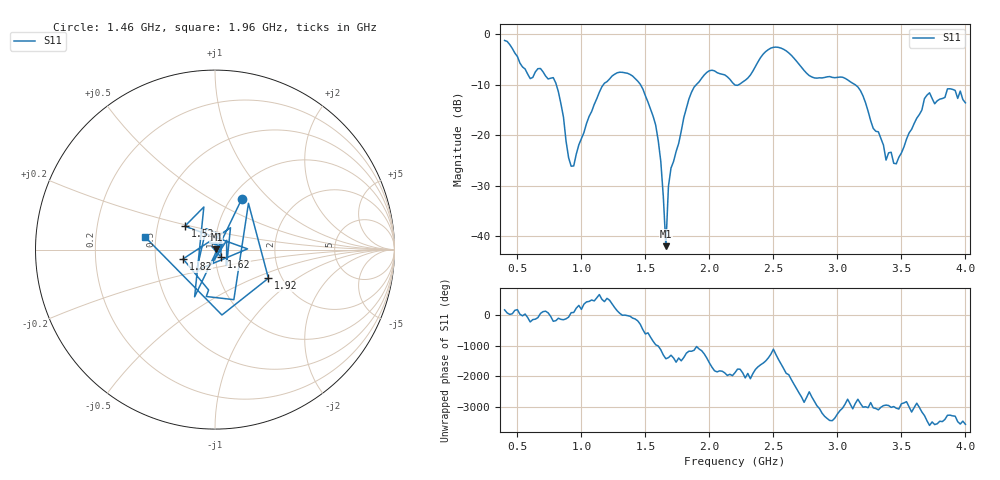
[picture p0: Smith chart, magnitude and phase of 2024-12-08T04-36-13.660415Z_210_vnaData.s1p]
!Created with skrf (http://scikit-rf.org).
# Hz S RI R 50.0
!freq ReS11 ImS11
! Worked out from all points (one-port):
!   181 points, 400 MHz to 4 GHz, reference 50 ohm
!   lowest |S11| = -41.9 dB at 1.66 GHz (marker M1), VSWR 1.02, Z = 50.8 + j0.193 ohm
!   |S11| at or under -10 dB: 803.7 MHz to 1.172 GHz (368.3 MHz wide, 37.3 % of centre); 1.461 GHz to 1.898 GHz (436.6 MHz wide, 26 % of centre); 3.138 GHz to end of sweep (the widest 3 of 4)
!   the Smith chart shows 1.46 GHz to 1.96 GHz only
!   S11 on the Smith chart (normalised r, x): 1.46 GHz: 1.12, +0.70; 1.52 GHz: 0.69, +0.19; 1.62 GHz: 1.07, -0.09; 1.82 GHz: 0.69, -0.07; 1.92 GHz: 1.71, -0.61; 1.96 GHz: 0.44, +0.07
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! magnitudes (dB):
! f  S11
! 400 MHz  -1.3
! 600 MHz  -8.8
! 780 MHz  -8.6
! 860 MHz  -16.4
! 900 MHz  -24.4
! 940 MHz  -26.1
! 1.16 GHz  -10.4
! 1.3 GHz  -7.5
! 1.46 GHz  -9.9
! 1.52 GHz  -13.4
! 1.58 GHz  -18.0
! 1.62 GHz  -25.1
! 1.66 GHz  -41.9
! 1.68 GHz  -30.1
! 1.76 GHz  -21.6
! 1.82 GHz  -14.6
! 1.92 GHz  -9.4
! 1.96 GHz  -8.1
! 2.2 GHz  -10.1
! 2.48 GHz  -2.8
! 2.66 GHz  -4.8
! 3.1 GHz  -9.4
! 3.2 GHz  -12.2
! 3.38 GHz  -24.9
! 3.46 GHz  -25.6
! 3.56 GHz  -19.5
! 3.72 GHz  -11.6
! 4 GHz  -13.6
